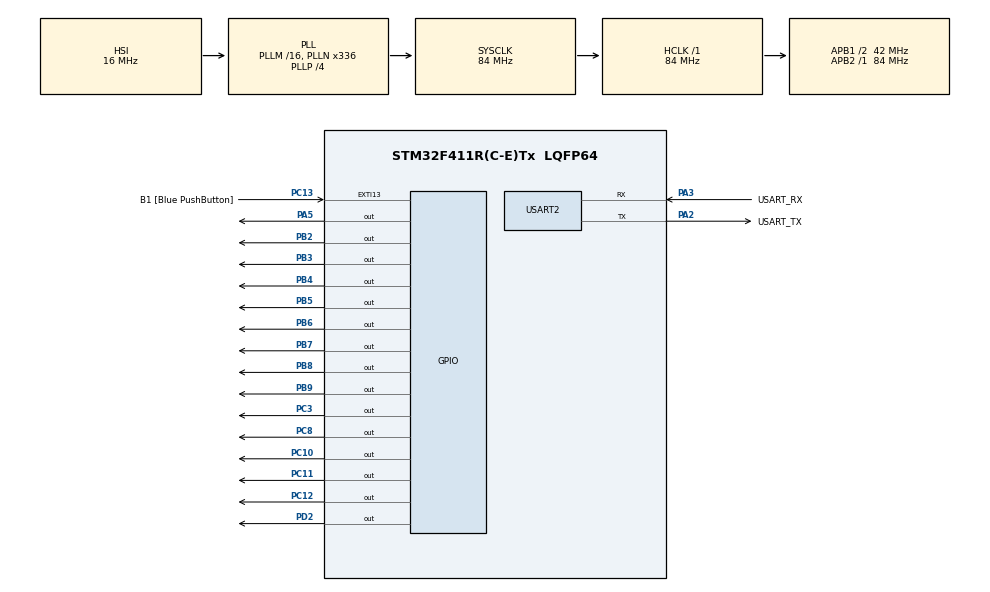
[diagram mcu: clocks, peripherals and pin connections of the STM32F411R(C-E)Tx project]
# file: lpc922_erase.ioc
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Mcu.Family=STM32F4
Mcu.Name=STM32F411R(C-E)Tx
Mcu.Package=LQFP64
NVIC.PriorityGroup=NVIC_PRIORITYGROUP_0
PA13.GPIO_Label=TMS
PA13.Mode=Serial_Wire
PA13.Signal=SYS_JTMS-SWDIO
PA14.GPIO_Label=TCK
PA14.Mode=Serial_Wire
PA14.Signal=SYS_JTCK-SWCLK
PA2.GPIO_Label=USART_TX
PA2.Mode=Asynchronous
PA2.Signal=USART2_TX
PA3.GPIO_Label=USART_RX
PA3.Mode=Asynchronous
PA3.Signal=USART2_RX
PA5.PinState=GPIO_PIN_RESET
PA5.Signal=GPIO_Output
PB2.Signal=GPIO_Output
PB3.Signal=GPIO_Output
PB4.Signal=GPIO_Output
PB5.Signal=GPIO_Output
PB6.Signal=GPIO_Output
PB7.Signal=GPIO_Output
PB8.Signal=GPIO_Output
PB9.Signal=GPIO_Output
PC10.Signal=GPIO_Output
PC11.Signal=GPIO_Output
PC12.Signal=GPIO_Output
PC13-ANTI_TAMP.GPIO_Label=B1 [Blue PushButton]
PC13-ANTI_TAMP.GPIO_ModeDefaultEXTI=GPIO_MODE_IT_FALLING
PC13-ANTI_TAMP.Signal=GPXTI13
PC14-OSC32_IN.Mode=LSE-External-Oscillator
PC14-OSC32_IN.Signal=RCC_OSC32_IN
PC15-OSC32_OUT.Mode=LSE-External-Oscillator
PC15-OSC32_OUT.Signal=RCC_OSC32_OUT
PC3.Signal=GPIO_Output
PC8.Signal=GPIO_Output
PD2.Signal=GPIO_Output
PH0\ -\ OSC_IN.Mode=HSE-External-Clock-Source
PH0\ -\ OSC_IN.Signal=RCC_OSC_IN
PH1\ -\ OSC_OUT.Mode=HSE-External-Clock-Source
PH1\ -\ OSC_OUT.Signal=RCC_OSC_OUT
ProjectManager.HeapSize=0x200
ProjectManager.StackSize=0x400
ProjectManager.TargetToolchain=STM32CubeIDE
RCC.48MHZClocksFreq_Value=84000000
RCC.AHBFreq_Value=84000000
RCC.APB1CLKDivider=RCC_HCLK_DIV2
RCC.APB1Freq_Value=42000000
RCC.APB1TimFreq_Value=84000000
RCC.APB2Freq_Value=84000000
RCC.APB2TimFreq_Value=84000000
RCC.CortexFreq_Value=84000000
RCC.FLatency-AdvancedSettings=FLASH_LATENCY_2
RCC.HCLKFreq_Value=84000000
RCC.HSE_VALUE=8000000
RCC.HSI_VALUE=16000000
RCC.PLLN=336
RCC.PLLP=RCC_PLLP_DIV4
RCC.SYSCLKFreq_VALUE=84000000
RCC.SYSCLKSource=RCC_SYSCLKSOURCE_PLLCLK
RCC.VCOOutputFreq_Value=336000000
USART2.VirtualMode=VM_ASYNC
board=NUCLEO-F411RE

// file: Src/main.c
/* USER CODE BEGIN Header */
/**
  ******************************************************************************
  * @file           : main.c
  * @brief          : Main program body
  ******************************************************************************
  * @attention
  *
  * <h2><center>&copy; Copyright (c) 2020 STMicroelectronics.
  * All rights reserved.</center></h2>
  *
  * This software component is licensed by ST under BSD 3-Clause license,
  * the "License"; You may not use this file except in compliance with the
  * License. You may obtain a copy of the License at:
  *                        opensource.org/licenses/BSD-3-Clause
  *
  ******************************************************************************
  */
/* USER CODE END Header */

#include "main.h"

UART_HandleTypeDef huart2;

void SystemClock_Config(void);
static void MX_GPIO_Init(void);
static void MX_USART2_UART_Init(void);

/* USER CODE BEGIN 0 */

static void nopDelay(uint32_t cnt)
{
    while(cnt--)
    {
        __asm("nop");
    }
}

static void data_as_output(void)
{
    GPIO_InitTypeDef GPIO_InitStruct = {0};

    GPIO_InitStruct.Pin = GPIO_PIN_2|GPIO_PIN_3|GPIO_PIN_4|GPIO_PIN_5
                              |GPIO_PIN_6|GPIO_PIN_7|GPIO_PIN_8|GPIO_PIN_9;
      GPIO_InitStruct.Mode = GPIO_MODE_OUTPUT_PP;
      GPIO_InitStruct.Pull = GPIO_NOPULL;
      GPIO_InitStruct.Speed = GPIO_SPEED_FREQ_LOW;
      HAL_GPIO_Init(GPIOB, &GPIO_InitStruct);
}

static void data_as_input(void)
{
    GPIO_InitTypeDef GPIO_InitStruct = {0};

    GPIO_InitStruct.Pin = GPIO_PIN_2|GPIO_PIN_3|GPIO_PIN_4|GPIO_PIN_5
                              |GPIO_PIN_6|GPIO_PIN_7|GPIO_PIN_8|GPIO_PIN_9;
      GPIO_InitStruct.Mode = GPIO_MODE_INPUT;
      GPIO_InitStruct.Pull = GPIO_NOPULL;
      GPIO_InitStruct.Speed = GPIO_SPEED_FREQ_LOW;
      HAL_GPIO_Init(GPIOB, &GPIO_InitStruct);
}

static void clk_hi(void)
{
    HAL_GPIO_WritePin(GPIOC, GPIO_PIN_12, GPIO_PIN_SET);
}

static void clk_low(void)
{
    HAL_GPIO_WritePin(GPIOC, GPIO_PIN_12, GPIO_PIN_RESET);
}

static void data_write(uint8_t data)
{
    uint32_t mask = GPIO_PIN_2|GPIO_PIN_3|GPIO_PIN_4|GPIO_PIN_5
            |GPIO_PIN_6|GPIO_PIN_7|GPIO_PIN_8|GPIO_PIN_9;

    HAL_GPIO_WritePin(GPIOB, mask, GPIO_PIN_RESET);

    HAL_GPIO_WritePin(GPIOB, (data << 2), GPIO_PIN_SET);
}

static uint8_t data_read(void)
{
    uint8_t retVal = 0;

   // nopDelay(100);
   // clk_hi();
   // nopDelay(100);

    if( HAL_GPIO_ReadPin(GPIOB, GPIO_PIN_9) != GPIO_PIN_RESET )
    {
        retVal |= (1u << 7);
    }

    if( HAL_GPIO_ReadPin(GPIOB, GPIO_PIN_8) != GPIO_PIN_RESET )
    {
        retVal |= (1u << 6);
    }

    if( HAL_GPIO_ReadPin(GPIOB, GPIO_PIN_7) != GPIO_PIN_RESET )
    {
        retVal |= (1u << 5);
    }

    if( HAL_GPIO_ReadPin(GPIOB, GPIO_PIN_6) != GPIO_PIN_RESET )
    {
        retVal |= (1u << 4);
    }

    if( HAL_GPIO_ReadPin(GPIOB, GPIO_PIN_5) != GPIO_PIN_RESET )
    {
        retVal |= (1u << 3);
    }

    if( HAL_GPIO_ReadPin(GPIOB, GPIO_PIN_4) != GPIO_PIN_RESET )
    {
        retVal |= (1u << 2);
    }

    if( HAL_GPIO_ReadPin(GPIOB, GPIO_PIN_3) != GPIO_PIN_RESET )
    {
        retVal |= (1u << 1);
    }

    if( HAL_GPIO_ReadPin(GPIOB, GPIO_PIN_2) != GPIO_PIN_RESET )
    {
        retVal |= (1u << 0);
    }

  //  clk_low();
    //nopDelay(100);

    return retVal;
}

static void reset_hi(void)
{
    HAL_GPIO_WritePin(GPIOD, GPIO_PIN_2, GPIO_PIN_SET);
}

static void reset_low(void)
{
    HAL_GPIO_WritePin(GPIOD, GPIO_PIN_2, GPIO_PIN_RESET);
}

static void vcc_enable(void)
{
    HAL_GPIO_WritePin(GPIOC, GPIO_PIN_8, GPIO_PIN_SET);
}

static void vcc_disable(void)
{
    HAL_GPIO_WritePin(GPIOC, GPIO_PIN_8, GPIO_PIN_RESET);
}

static void sel_set(uint8_t val)
{
    // PC10(SEL0)    PC11(SEL1)

    if((val && 0x01) != 0)
    {
        HAL_GPIO_WritePin(GPIOC, GPIO_PIN_10, GPIO_PIN_SET);
    }
    else
    {
        HAL_GPIO_WritePin(GPIOC, GPIO_PIN_10, GPIO_PIN_RESET);
    }

    if((val && 0x02) != 0)
    {
        HAL_GPIO_WritePin(GPIOC, GPIO_PIN_11, GPIO_PIN_SET);
    }
    else
    {
        HAL_GPIO_WritePin(GPIOC, GPIO_PIN_11, GPIO_PIN_RESET);
    }
}

static void wr_low(void)
{
    HAL_GPIO_WritePin(GPIOC, GPIO_PIN_3, GPIO_PIN_RESET);
}

static void wr_high(void)
{
    HAL_GPIO_WritePin(GPIOC, GPIO_PIN_3, GPIO_PIN_SET);
}

static void reset_pulses(void)
{
    uint8_t i;

    for(i=0; i<5; i++)
    {
        reset_hi();
        nopDelay(100);
        reset_low();
        nopDelay(100);
    }

    reset_hi();
}

static void clk_pulse(void)
{
    nopDelay(100);
    clk_hi();
    nopDelay(100);
    clk_low();
    nopDelay(100);
}

/* USER CODE END 0 */

int main(void)
{

  /* MCU Configuration--------------------------------------------------------*/

  /* Reset of all peripherals, Initializes the Flash interface and the Systick. */
  HAL_Init();

  /* Configure the system clock */
  SystemClock_Config();

  /* Initialize all configured peripherals */
  MX_GPIO_Init();
  MX_USART2_UART_Init();
  /* USER CODE BEGIN 2 */

  vcc_disable();
  wr_high();
  reset_low();
  sel_set(0);
  clk_low();
  data_as_output();
  data_write(0);

  HAL_Delay(10);
  vcc_enable();
  HAL_Delay(2);
  reset_pulses();
  HAL_Delay(1);

  sel_set(3);
  wr_low();
  data_write(0x72);

  nopDelay(10);

  clk_pulse();

  data_as_input();

  wr_high();

  /* USER CODE END 2 */

  /* Infinite loop */
  while (1)
  {

    /* USER CODE BEGIN 3 */

      uint32_t cntr = 5000;
      uint8_t status;

      while(cntr--)
      {
          clk_pulse();
          status = data_read();

          if(status == 0xF0)
          {
              HAL_GPIO_WritePin(GPIOA, GPIO_PIN_5, GPIO_PIN_SET);
          }
      }

      if(status==0x70)
      {
            HAL_GPIO_WritePin(GPIOA, GPIO_PIN_5, GPIO_PIN_RESET);
      }

      vcc_disable();

      while(1);
  }
  /* USER CODE END 3 */
}

void SystemClock_Config(void)
{
  RCC_OscInitTypeDef RCC_OscInitStruct = {0};
  RCC_ClkInitTypeDef RCC_ClkInitStruct = {0};

  /** Configure the main internal regulator output voltage
  */
  __HAL_RCC_PWR_CLK_ENABLE();
  __HAL_PWR_VOLTAGESCALING_CONFIG(PWR_REGULATOR_VOLTAGE_SCALE1);
  /** Initializes the CPU, AHB and APB busses clocks
  */
  RCC_OscInitStruct.OscillatorType = RCC_OSCILLATORTYPE_HSI;
  RCC_OscInitStruct.HSIState = RCC_HSI_ON;
  RCC_OscInitStruct.HSICalibrationValue = RCC_HSICALIBRATION_DEFAULT;
  RCC_OscInitStruct.PLL.PLLState = RCC_PLL_ON;
  RCC_OscInitStruct.PLL.PLLSource = RCC_PLLSOURCE_HSI;
  RCC_OscInitStruct.PLL.PLLM = 16;
  RCC_OscInitStruct.PLL.PLLN = 336;
  RCC_OscInitStruct.PLL.PLLP = RCC_PLLP_DIV4;
  RCC_OscInitStruct.PLL.PLLQ = 4;
  if (HAL_RCC_OscConfig(&RCC_OscInitStruct) != HAL_OK)
  {
    Error_Handler();
  }
  /** Initializes the CPU, AHB and APB busses clocks
  */
  RCC_ClkInitStruct.ClockType = RCC_CLOCKTYPE_HCLK|RCC_CLOCKTYPE_SYSCLK
                              |RCC_CLOCKTYPE_PCLK1|RCC_CLOCKTYPE_PCLK2;
  RCC_ClkInitStruct.SYSCLKSource = RCC_SYSCLKSOURCE_PLLCLK;
  RCC_ClkInitStruct.AHBCLKDivider = RCC_SYSCLK_DIV1;
  RCC_ClkInitStruct.APB1CLKDivider = RCC_HCLK_DIV2;
  RCC_ClkInitStruct.APB2CLKDivider = RCC_HCLK_DIV1;

  if (HAL_RCC_ClockConfig(&RCC_ClkInitStruct, FLASH_LATENCY_2) != HAL_OK)
  {
    Error_Handler();
  }
}

static void MX_USART2_UART_Init(void)
{

  huart2.Instance = USART2;
  huart2.Init.BaudRate = 115200;
  huart2.Init.WordLength = UART_WORDLENGTH_8B;
  huart2.Init.StopBits = UART_STOPBITS_1;
  huart2.Init.Parity = UART_PARITY_NONE;
  huart2.Init.Mode = UART_MODE_TX_RX;
  huart2.Init.HwFlowCtl = UART_HWCONTROL_NONE;
  huart2.Init.OverSampling = UART_OVERSAMPLING_16;
  if (HAL_UART_Init(&huart2) != HAL_OK)
  {
    Error_Handler();
  }

}

static void MX_GPIO_Init(void)
{
  GPIO_InitTypeDef GPIO_InitStruct = {0};

  /* GPIO Ports Clock Enable */
  __HAL_RCC_GPIOC_CLK_ENABLE();
  __HAL_RCC_GPIOH_CLK_ENABLE();
  __HAL_RCC_GPIOA_CLK_ENABLE();
  __HAL_RCC_GPIOB_CLK_ENABLE();
  __HAL_RCC_GPIOD_CLK_ENABLE();

  /*Configure GPIO pin Output Level */
  HAL_GPIO_WritePin(GPIOC, GPIO_PIN_3|GPIO_PIN_8|GPIO_PIN_10|GPIO_PIN_11
                          |GPIO_PIN_12, GPIO_PIN_RESET);

  /*Configure GPIO pin Output Level */
  HAL_GPIO_WritePin(GPIOA, GPIO_PIN_5, GPIO_PIN_RESET);

  /*Configure GPIO pin Output Level */
  HAL_GPIO_WritePin(GPIOB, GPIO_PIN_2|GPIO_PIN_3|GPIO_PIN_4|GPIO_PIN_5
                          |GPIO_PIN_6|GPIO_PIN_7|GPIO_PIN_8|GPIO_PIN_9, GPIO_PIN_RESET);

  /*Configure GPIO pin Output Level */
  HAL_GPIO_WritePin(GPIOD, GPIO_PIN_2, GPIO_PIN_RESET);

  /*Configure GPIO pin : B1_Pin */
  GPIO_InitStruct.Pin = B1_Pin;
  GPIO_InitStruct.Mode = GPIO_MODE_IT_FALLING;
  GPIO_InitStruct.Pull = GPIO_NOPULL;
  HAL_GPIO_Init(B1_GPIO_Port, &GPIO_InitStruct);

  /*Configure GPIO pins : PC3 PC8 PC10 PC11
                           PC12 */
  GPIO_InitStruct.Pin = GPIO_PIN_3|GPIO_PIN_8|GPIO_PIN_10|GPIO_PIN_11
                          |GPIO_PIN_12;
  GPIO_InitStruct.Mode = GPIO_MODE_OUTPUT_PP;
  GPIO_InitStruct.Pull = GPIO_NOPULL;
  GPIO_InitStruct.Speed = GPIO_SPEED_FREQ_LOW;
  HAL_GPIO_Init(GPIOC, &GPIO_InitStruct);

  /*Configure GPIO pin : PA5 */
  GPIO_InitStruct.Pin = GPIO_PIN_5;
  GPIO_InitStruct.Mode = GPIO_MODE_OUTPUT_PP;
  GPIO_InitStruct.Pull = GPIO_NOPULL;
  GPIO_InitStruct.Speed = GPIO_SPEED_FREQ_LOW;
  HAL_GPIO_Init(GPIOA, &GPIO_InitStruct);

  /*Configure GPIO pins : PB2 PB3 PB4 PB5
                           PB6 PB7 PB8 PB9 */
  GPIO_InitStruct.Pin = GPIO_PIN_2|GPIO_PIN_3|GPIO_PIN_4|GPIO_PIN_5
                          |GPIO_PIN_6|GPIO_PIN_7|GPIO_PIN_8|GPIO_PIN_9;
  GPIO_InitStruct.Mode = GPIO_MODE_OUTPUT_PP;
  GPIO_InitStruct.Pull = GPIO_NOPULL;
  GPIO_InitStruct.Speed = GPIO_SPEED_FREQ_LOW;
  HAL_GPIO_Init(GPIOB, &GPIO_InitStruct);

  /*Configure GPIO pin : PD2 */
  GPIO_InitStruct.Pin = GPIO_PIN_2;
  GPIO_InitStruct.Mode = GPIO_MODE_OUTPUT_PP;
  GPIO_InitStruct.Pull = GPIO_NOPULL;
  GPIO_InitStruct.Speed = GPIO_SPEED_FREQ_LOW;
  HAL_GPIO_Init(GPIOD, &GPIO_InitStruct);

}

void Error_Handler(void)
{
}

/************************ (C) COPYRIGHT STMicroelectronics *****END OF FILE****/
